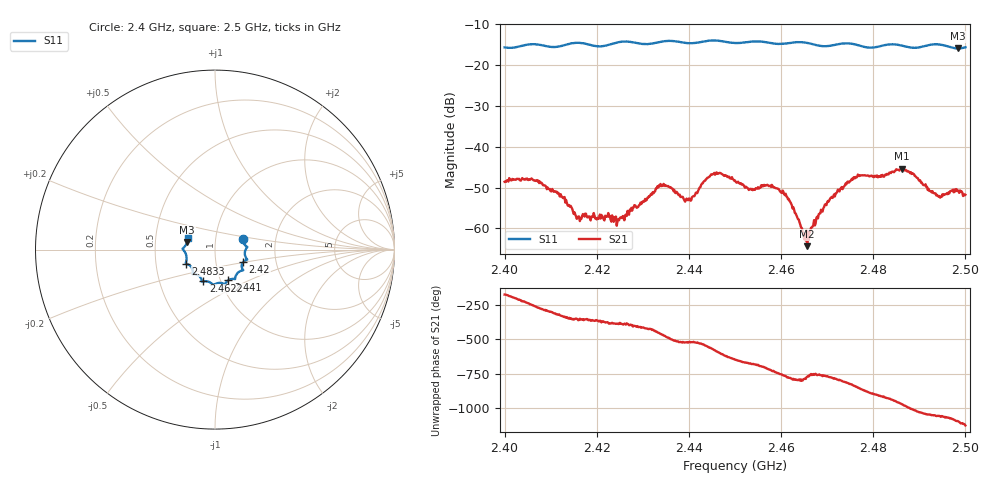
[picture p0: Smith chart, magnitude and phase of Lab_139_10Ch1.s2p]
# Hz S RI R 50
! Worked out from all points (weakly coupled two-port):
!   601 points, 2.4 GHz to 2.5 GHz, reference 50 ohm
!   highest |S21| = -45.40 dB at 2.4862 GHz (marker M1); lowest = -64.4 dB at 2.4657 GHz (marker M2)
!   lowest |S11| = -15.9 dB at 2.4983 GHz (marker M3), VSWR 1.38, Z = 36.5 + j3.09 ohm
!   |S11| at or under -10 dB: start of sweep to end of sweep
!   S12 and S22 are empty: the file has one direction only
!   S11 on the Smith chart (normalised r, x): 2.4 GHz: 1.35, +0.16; 2.42 GHz: 1.35, -0.20; 2.441 GHz: 1.09, -0.39; 2.4622 GHz: 0.83, -0.30; 2.4833 GHz: 0.71, -0.12; 2.5 GHz: 0.73, +0.10
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2.4e9  0.1543 0.0592  -0.00371 -0.000267  0 0  0 0
2.4075e9  0.1779 0.0114  0.000266 0.00358  0 0  0 0
2.416667e9  0.1783 -0.0568  0.00131 8.82e-05  0 0  0 0
2.42e9  0.1555 -0.0712  0.00129 -5.35e-05  0 0  0 0
2.424833e9  0.1559 -0.1122  0.0011 -0.000618  0 0  0 0
2.433333e9  0.1132 -0.1539  -0.00015 -0.00317  0 0  0 0
2.439333e9  0.0912 -0.1638  -0.00215 -0.000644  0 0  0 0
2.441e9  0.0752 -0.1707  -0.00232 -0.00089  0 0  0 0
2.445e9  0.0553 -0.1934  -0.00395 0.00226  0 0  0 0
2.45e9  0.0251 -0.1855  0.00122 0.00367  0 0  0 0
2.4535e9  -0.00351 -0.1944  0.00227 0.00197  0 0  0 0
2.4585e9  -0.0292 -0.1819  0.00311 -0.000745  0 0  0 0
2.462167e9  -0.0645 -0.1768  0.000852 -0.00183  0 0  0 0
2.465667e9  -0.0738 -0.1725  0.000364 -0.000483  0 0  0 0
2.466667e9  -0.0754 -0.1661  0.00078 -0.00067  0 0  0 0
2.4705e9  -0.1025 -0.1389  0.00125 -0.00183  0 0  0 0
2.475667e9  -0.1244 -0.1327  -0.00178 -0.00375  0 0  0 0
2.483333e9  -0.1613 -0.0786  -0.00398 0.0023  0 0  0 0
2.486167e9  -0.1606 -0.067  -0.00176 0.00507  0 0  0 0
2.494167e9  -0.1799 0.00598  0.00227 0.000938  0 0  0 0
2.498333e9  -0.1552 0.0413  0.00277 -0.000709  0 0  0 0
2.5e9  -0.1526 0.065  0.00178 -0.00187  0 0  0 0
